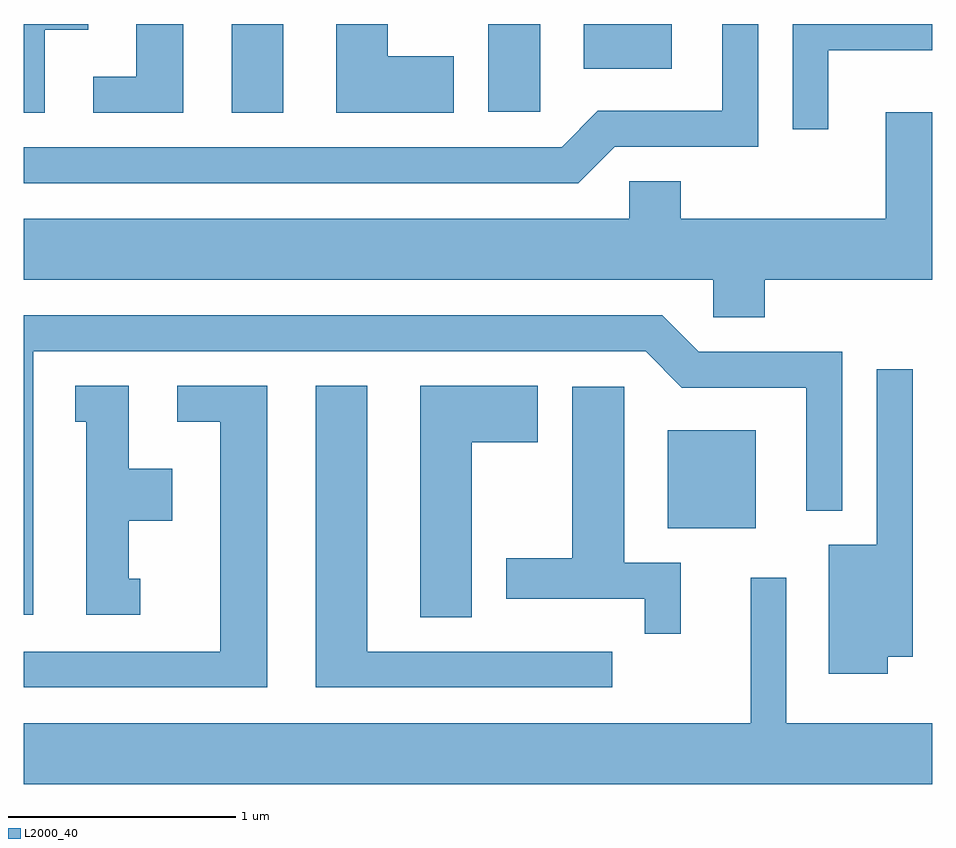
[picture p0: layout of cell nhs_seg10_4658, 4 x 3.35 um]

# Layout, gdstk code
import gdstk
lib = gdstk.Library(unit=1e-6, precision=1e-09)
def R(c, l, rs):  # rectangles x0, y0, x1, y1
    for r in rs: c.add(gdstk.rectangle(r[:2], r[2:], *l))
def P(c, l, *ps):  # polygons
    for p in ps: c.add(gdstk.Polygon(p, *l))
L2000_40 = (2000, 40)

nhs_seg10_4658 = lib.new_cell('nhs_seg10_4658')
R(nhs_seg10_4658, L2000_40, [(324.446,2188.301,324.834,2188.734), (322.526,2190.131,322.754,2190.522), (323.656,2190.136,323.884,2190.522), (324.076,2190.326,324.464,2190.522)])
P(nhs_seg10_4658, L2000_40, [(323.504,2190.379),(323.214,2190.379),(323.214,2190.522),(322.986,2190.522),(322.986,2190.131),(323.504,2190.131)],
  [(321.704,2190.496),(321.894,2190.496),(321.894,2190.522),(321.611,2190.522),(321.611,2190.131),(321.704,2190.131)],
  [(324.212,2189.981),(324.844,2189.981),(324.844,2190.522),(324.686,2190.522),(324.686,2190.139),(324.139,2190.139),(323.979,2189.979),(321.611,2189.979),(321.611,2189.821),(324.052,2189.821)],
  [(325.154,2190.406),(325.611,2190.406),(325.611,2190.522),(324.996,2190.522),(324.996,2190.058),(325.154,2190.058)],
  [(322.314,2190.522),(322.106,2190.522),(322.106,2190.289),(321.918,2190.289),(321.918,2190.131),(322.314,2190.131)],
  [(324.874,2189.396),(325.611,2189.396),(325.611,2190.134),(325.406,2190.134),(325.406,2189.664),(324.504,2189.664),(324.504,2189.829),(324.276,2189.829),(324.276,2189.664),(321.611,2189.664),(321.611,2189.396),(324.646,2189.396),(324.646,2189.231),(324.874,2189.231)],
  [(321.654,2189.081),(324.349,2189.081),(324.509,2188.921),(325.056,2188.921),(325.056,2188.378),(325.214,2188.378),(325.214,2189.079),(324.582,2189.079),(324.422,2189.239),(321.611,2189.239),(321.611,2187.921),(321.654,2187.921)],
  [(325.414,2187.736),(325.524,2187.736),(325.524,2189.003),(325.366,2189.003),(325.366,2188.229),(325.156,2188.229),(325.156,2187.661),(325.414,2187.661)],
  [(323.584,2188.681),(323.874,2188.681),(323.874,2188.929),(323.356,2188.929),(323.356,2187.911),(323.584,2187.911)],
  [(324.203,2187.759),(323.124,2187.759),(323.124,2188.929),(322.896,2188.929),(322.896,2187.601),(324.203,2187.601)],
  [(322.684,2188.929),(322.288,2188.929),(322.288,2188.771),(322.476,2188.771),(322.476,2187.759),(321.611,2187.759),(321.611,2187.601),(322.684,2187.601)],
  [(322.123,2188.079),(322.074,2188.079),(322.074,2188.336),(322.264,2188.336),(322.264,2188.564),(322.074,2188.564),(322.074,2188.929),(321.838,2188.929),(321.838,2188.771),(321.886,2188.771),(321.886,2187.921),(322.123,2187.921)],
  [(324.504,2188.149),(324.254,2188.149),(324.254,2188.924),(324.026,2188.924),(324.026,2188.169),(323.736,2188.169),(323.736,2187.991),(324.346,2187.991),(324.346,2187.838),(324.504,2187.838)],
  [(325.611,2187.444),(324.969,2187.444),(324.969,2188.083),(324.811,2188.083),(324.811,2187.444),(321.611,2187.444),(321.611,2187.176),(325.611,2187.176)])

lib.write_gds('nhs_seg10_4658.gds')
